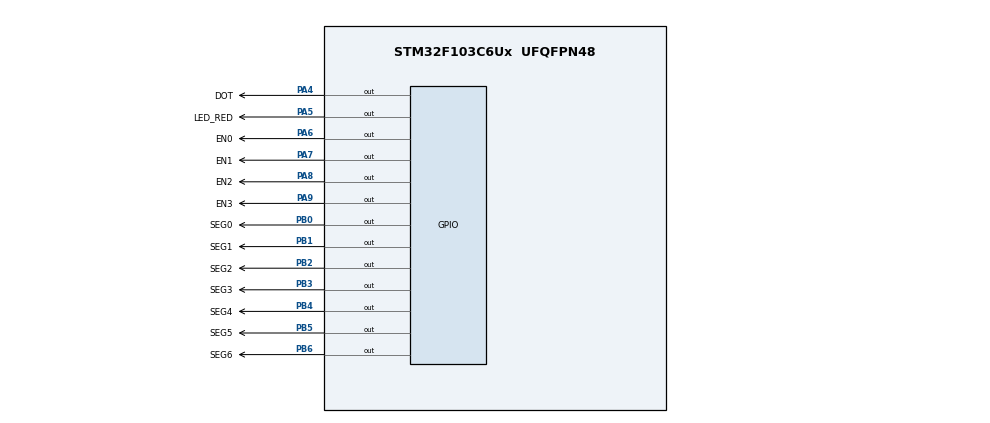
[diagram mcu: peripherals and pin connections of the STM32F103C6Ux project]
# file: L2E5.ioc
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Mcu.Family=STM32F1
Mcu.Name=STM32F103C6Ux
Mcu.Package=UFQFPN48
NVIC.PriorityGroup=NVIC_PRIORITYGROUP_4
NVIC.TIM2_IRQn=true\:0\:0\:false\:false\:true\:true\:true
PA4.GPIO_Label=DOT
PA4.Signal=GPIO_Output
PA5.GPIO_Label=LED_RED
PA5.Signal=GPIO_Output
PA6.GPIO_Label=EN0
PA6.Signal=GPIO_Output
PA7.GPIO_Label=EN1
PA7.Signal=GPIO_Output
PA8.GPIO_Label=EN2
PA8.Signal=GPIO_Output
PA9.GPIO_Label=EN3
PA9.Signal=GPIO_Output
PB0.GPIO_Label=SEG0
PB0.Signal=GPIO_Output
PB1.GPIO_Label=SEG1
PB1.Signal=GPIO_Output
PB2.GPIO_Label=SEG2
PB2.Signal=GPIO_Output
PB3.GPIO_Label=SEG3
PB3.Signal=GPIO_Output
PB4.GPIO_Label=SEG4
PB4.Signal=GPIO_Output
PB5.GPIO_Label=SEG5
PB5.Signal=GPIO_Output
PB6.GPIO_Label=SEG6
PB6.Signal=GPIO_Output
ProjectManager.HeapSize=0x200
ProjectManager.StackSize=0x400
ProjectManager.TargetToolchain=STM32CubeIDE
RCC.APB1Freq_Value=8000000
RCC.APB2Freq_Value=8000000
TIM2.Period=99
TIM2.Prescaler=199
VP_SYS_VS_ND.Mode=No_Debug
VP_TIM2_VS_ClockSourceINT.Mode=Internal
board=custom

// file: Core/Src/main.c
/* USER CODE BEGIN Header */
/**
  ******************************************************************************
  * @file           : main.c
  * @brief          : Main program body
  ******************************************************************************
  * @attention
  *
  * <h2><center>&copy; Copyright (c) 2023 STMicroelectronics.
  * All rights reserved.</center></h2>
  *
  * This software component is licensed by ST under BSD 3-Clause license,
  * the "License"; You may not use this file except in compliance with the
  * License. You may obtain a copy of the License at:
  *                        opensource.org/licenses/BSD-3-Clause
  *
  ******************************************************************************
  */
/* USER CODE END Header */
#include "main.h"

/* USER CODE BEGIN Includes */
#include "software_timer.h"
/* USER CODE END Includes */

TIM_HandleTypeDef htim2;

void SystemClock_Config(void);
static void MX_GPIO_Init(void);
static void MX_TIM2_Init(void);

/* USER CODE BEGIN 0 */
void display7SEG(int);
void update7SEG(int);
void updateClockBuffer(void);
/* USER CODE END 0 */

const int MAX_LED = 4;
int index_led = 0;
int led_buffer[4] = {1, 7, 3, 0};
int hour = 15, min = 8, sec = 50;

int main(void)
{

  /* MCU Configuration--------------------------------------------------------*/

  /* Reset of all peripherals, Initializes the Flash interface and the Systick. */
  HAL_Init();

  /* Configure the system clock */
  SystemClock_Config();

  /* Initialize all configured peripherals */
  MX_GPIO_Init();
  MX_TIM2_Init();
  /* USER CODE BEGIN 2 */
  HAL_TIM_Base_Start_IT (& htim2 ) ;
  /* USER CODE END 2 */

  /* Infinite loop */
  /* USER CODE BEGIN WHILE */

  HAL_GPIO_WritePin(GPIOA, EN0_Pin, GPIO_PIN_RESET);
  int ledOn = 0;
  setTimer1(100);
  setTimer2(1);

  while (1)
  {
    /* USER CODE END WHILE */
	  if (timer1_flag == 1){
	  		  switch (ledOn){
	  		  case 0:
	  			  HAL_GPIO_WritePin(GPIOA , EN0_Pin , GPIO_PIN_RESET);
	  			  HAL_GPIO_WritePin(GPIOA , EN1_Pin | EN2_Pin | EN3_Pin , GPIO_PIN_SET);
	  			  update7SEG(0);
	  			  ledOn = 1;
	  			  break;

	  		  case 1:
	  			  HAL_GPIO_WritePin(GPIOA , EN1_Pin , GPIO_PIN_RESET);
	  			  HAL_GPIO_WritePin(GPIOA , EN0_Pin | EN2_Pin | EN3_Pin , GPIO_PIN_SET);
	  			  update7SEG(1);
	  			  ledOn = 2;
	  			  break;

	  		  case 2:
	  			  HAL_GPIO_WritePin(GPIOA , EN2_Pin , GPIO_PIN_RESET);
	  			  HAL_GPIO_WritePin(GPIOA , EN0_Pin | EN1_Pin | EN3_Pin , GPIO_PIN_SET);
	  			  update7SEG(2);
	  			  ledOn = 3;
	  			  break;

	  		  case 3:
	  			  HAL_GPIO_WritePin(GPIOA , EN3_Pin , GPIO_PIN_RESET);
	  			  HAL_GPIO_WritePin(GPIOA , EN0_Pin | EN1_Pin | EN2_Pin , GPIO_PIN_SET);
	  			  update7SEG(3);
	  			  ledOn = 0;
	  			  break;

	  		  default:
	  			  update7SEG(-1);
	  			  ledOn = 0;
	  			  break;
	  		  }
	  	  setTimer1(25);
	  }

	  	  if (timer2_flag == 1){
	  		  HAL_GPIO_TogglePin(GPIOA, DOT_Pin);
	  		  sec++;
	  		if ( sec >= 60) {
	  			sec = 0;
	  			min++;
	  		}
	  		if (min >= 60) {
	  			min = 0;
	  			hour++;
	  		}
	  		if (hour >= 24) hour = 0;
	  		  	updateClockBuffer() ;
	  		    setTimer2(100);
	  	  }
  }
}

void SystemClock_Config(void)
{
  RCC_OscInitTypeDef RCC_OscInitStruct = {0};
  RCC_ClkInitTypeDef RCC_ClkInitStruct = {0};

  /** Initializes the RCC Oscillators according to the specified parameters
  * in the RCC_OscInitTypeDef structure.
  */
  RCC_OscInitStruct.OscillatorType = RCC_OSCILLATORTYPE_HSI;
  RCC_OscInitStruct.HSIState = RCC_HSI_ON;
  RCC_OscInitStruct.HSICalibrationValue = RCC_HSICALIBRATION_DEFAULT;
  RCC_OscInitStruct.PLL.PLLState = RCC_PLL_NONE;
  if (HAL_RCC_OscConfig(&RCC_OscInitStruct) != HAL_OK)
  {
    Error_Handler();
  }
  /** Initializes the CPU, AHB and APB buses clocks
  */
  RCC_ClkInitStruct.ClockType = RCC_CLOCKTYPE_HCLK|RCC_CLOCKTYPE_SYSCLK
                              |RCC_CLOCKTYPE_PCLK1|RCC_CLOCKTYPE_PCLK2;
  RCC_ClkInitStruct.SYSCLKSource = RCC_SYSCLKSOURCE_HSI;
  RCC_ClkInitStruct.AHBCLKDivider = RCC_SYSCLK_DIV1;
  RCC_ClkInitStruct.APB1CLKDivider = RCC_HCLK_DIV1;
  RCC_ClkInitStruct.APB2CLKDivider = RCC_HCLK_DIV1;

  if (HAL_RCC_ClockConfig(&RCC_ClkInitStruct, FLASH_LATENCY_0) != HAL_OK)
  {
    Error_Handler();
  }
}

static void MX_TIM2_Init(void)
{

  TIM_ClockConfigTypeDef sClockSourceConfig = {0};
  TIM_MasterConfigTypeDef sMasterConfig = {0};

  htim2.Instance = TIM2;
  htim2.Init.Prescaler = 7999;
  htim2.Init.CounterMode = TIM_COUNTERMODE_UP;
  htim2.Init.Period = 9;
  htim2.Init.ClockDivision = TIM_CLOCKDIVISION_DIV1;
  htim2.Init.AutoReloadPreload = TIM_AUTORELOAD_PRELOAD_DISABLE;
  if (HAL_TIM_Base_Init(&htim2) != HAL_OK)
  {
    Error_Handler();
  }
  sClockSourceConfig.ClockSource = TIM_CLOCKSOURCE_INTERNAL;
  if (HAL_TIM_ConfigClockSource(&htim2, &sClockSourceConfig) != HAL_OK)
  {
    Error_Handler();
  }
  sMasterConfig.MasterOutputTrigger = TIM_TRGO_RESET;
  sMasterConfig.MasterSlaveMode = TIM_MASTERSLAVEMODE_DISABLE;
  if (HAL_TIMEx_MasterConfigSynchronization(&htim2, &sMasterConfig) != HAL_OK)
  {
    Error_Handler();
  }

}

static void MX_GPIO_Init(void)
{
  GPIO_InitTypeDef GPIO_InitStruct = {0};

  /* GPIO Ports Clock Enable */
  __HAL_RCC_GPIOA_CLK_ENABLE();
  __HAL_RCC_GPIOB_CLK_ENABLE();

  /*Configure GPIO pin Output Level */
  HAL_GPIO_WritePin(GPIOA, DOT_Pin|LED_RED_Pin|EN0_Pin|EN1_Pin
                          |EN2_Pin|EN3_Pin, GPIO_PIN_RESET);

  /*Configure GPIO pin Output Level */
  HAL_GPIO_WritePin(GPIOB, SEG0_Pin|SEG1_Pin|SEG2_Pin|SEG3_Pin
                          |SEG4_Pin|SEG5_Pin|SEG6_Pin, GPIO_PIN_RESET);

  /*Configure GPIO pins : DOT_Pin LED_RED_Pin EN0_Pin EN1_Pin
                           EN2_Pin EN3_Pin */
  GPIO_InitStruct.Pin = DOT_Pin|LED_RED_Pin|EN0_Pin|EN1_Pin
                          |EN2_Pin|EN3_Pin;
  GPIO_InitStruct.Mode = GPIO_MODE_OUTPUT_PP;
  GPIO_InitStruct.Pull = GPIO_NOPULL;
  GPIO_InitStruct.Speed = GPIO_SPEED_FREQ_LOW;
  HAL_GPIO_Init(GPIOA, &GPIO_InitStruct);

  /*Configure GPIO pins : SEG0_Pin SEG1_Pin SEG2_Pin SEG3_Pin
                           SEG4_Pin SEG5_Pin SEG6_Pin */
  GPIO_InitStruct.Pin = SEG0_Pin|SEG1_Pin|SEG2_Pin|SEG3_Pin
                          |SEG4_Pin|SEG5_Pin|SEG6_Pin;
  GPIO_InitStruct.Mode = GPIO_MODE_OUTPUT_PP;
  GPIO_InitStruct.Pull = GPIO_NOPULL;
  GPIO_InitStruct.Speed = GPIO_SPEED_FREQ_LOW;
  HAL_GPIO_Init(GPIOB, &GPIO_InitStruct);

}

/* USER CODE BEGIN 4 */
void display7SEG(int counter){
	switch (counter){
		case 0:
			HAL_GPIO_WritePin(GPIOB , SEG0_Pin | SEG1_Pin | SEG2_Pin | SEG3_Pin |
							  SEG4_Pin | SEG5_Pin , GPIO_PIN_RESET);
			HAL_GPIO_WritePin(GPIOB , SEG6_Pin , GPIO_PIN_SET);
			break;

		case 1:
			HAL_GPIO_WritePin(GPIOB , SEG1_Pin | SEG2_Pin , GPIO_PIN_RESET);
			HAL_GPIO_WritePin(GPIOB , SEG0_Pin | SEG3_Pin | SEG4_Pin | SEG5_Pin | SEG6_Pin , GPIO_PIN_SET);
			break;

		case 2:
			HAL_GPIO_WritePin(GPIOB , SEG0_Pin | SEG1_Pin | SEG3_Pin | SEG4_Pin | SEG6_Pin , GPIO_PIN_RESET);
			HAL_GPIO_WritePin(GPIOB , SEG2_Pin | SEG5_Pin , GPIO_PIN_SET);
			break;

		case 3:
			HAL_GPIO_WritePin(GPIOB , SEG0_Pin | SEG1_Pin | SEG2_Pin | SEG3_Pin | SEG6_Pin , GPIO_PIN_RESET);
			HAL_GPIO_WritePin(GPIOB , SEG4_Pin | SEG5_Pin , GPIO_PIN_SET);
			break;

		case 4:
			HAL_GPIO_WritePin(GPIOB , SEG1_Pin | SEG2_Pin | SEG5_Pin | SEG6_Pin , GPIO_PIN_RESET);
			HAL_GPIO_WritePin(GPIOB , SEG0_Pin | SEG3_Pin | SEG4_Pin , GPIO_PIN_SET);
			break;

		case 5:
			HAL_GPIO_WritePin(GPIOB , SEG0_Pin | SEG2_Pin | SEG3_Pin | SEG5_Pin | SEG6_Pin , GPIO_PIN_RESET);
			HAL_GPIO_WritePin(GPIOB , SEG1_Pin | SEG4_Pin , GPIO_PIN_SET);
			break;

		case 6:
			HAL_GPIO_WritePin(GPIOB , SEG0_Pin | SEG2_Pin | SEG3_Pin | SEG4_Pin |
							  SEG5_Pin | SEG6_Pin , GPIO_PIN_RESET);
			HAL_GPIO_WritePin(GPIOB , SEG1_Pin , GPIO_PIN_SET);
			break;

		case 7:
			HAL_GPIO_WritePin(GPIOB , SEG0_Pin | SEG1_Pin | SEG2_Pin , GPIO_PIN_RESET);
			HAL_GPIO_WritePin(GPIOB , SEG3_Pin | SEG4_Pin | SEG5_Pin | SEG6_Pin , GPIO_PIN_SET);
			break;

		case 8:
			HAL_GPIO_WritePin(GPIOB , SEG0_Pin | SEG1_Pin | SEG2_Pin | SEG3_Pin |
							  SEG4_Pin | SEG5_Pin | SEG6_Pin , GPIO_PIN_RESET);
			break;

		case 9:
			HAL_GPIO_WritePin(GPIOB , SEG0_Pin | SEG1_Pin | SEG2_Pin | SEG3_Pin |
							  SEG5_Pin | SEG6_Pin , GPIO_PIN_RESET);
			HAL_GPIO_WritePin(GPIOB , SEG4_Pin , GPIO_PIN_SET);
			break;

		default:
			break;
	}
}

void update7SEG(int index){
	switch ( index ){
	case 0:
		display7SEG(led_buffer[0]);
		break ;

	case 1:
		display7SEG(led_buffer[1]);
		break ;

	case 2:
		display7SEG(led_buffer[2]);
		break ;

	case 3:
		display7SEG(led_buffer[3]);
		break ;

	default :
		display7SEG(-1);
		break ;
	}
}

void HAL_TIM_PeriodElapsedCallback ( TIM_HandleTypeDef * htim2 ){
	timerRun2();
	timerRun1();
}

void updateClockBuffer(){
	led_buffer[0] = hour / 10;
	led_buffer[1] = hour % 10;
	led_buffer[2] = min / 10;
	led_buffer[3] = min % 10;
}
/* USER CODE END 4 */

void Error_Handler(void)
{
  __disable_irq();
  while (1)
  {
  }
}

/************************ (C) COPYRIGHT STMicroelectronics *****END OF FILE****/
